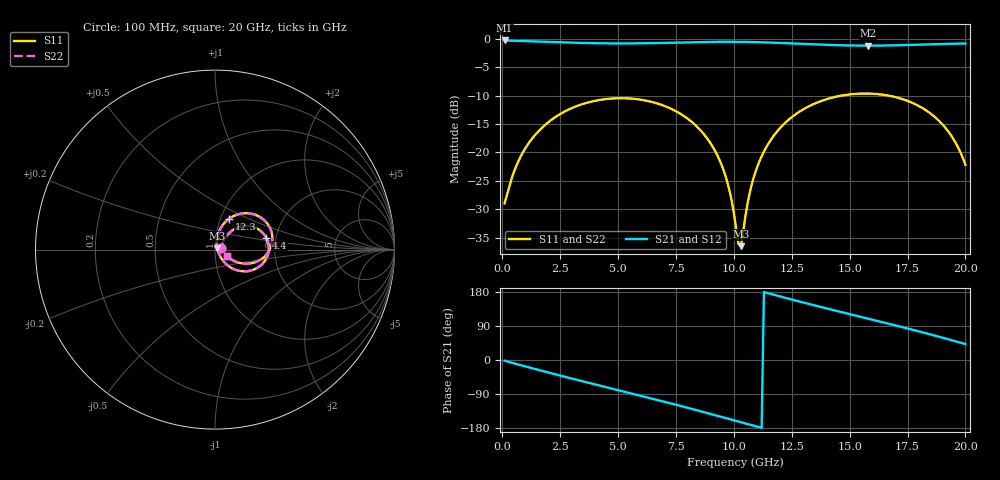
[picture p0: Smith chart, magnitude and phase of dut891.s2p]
! Touchstone file exported from HFSS 2026.1.0
!  File:  C:/ffzhzh/LocalFiles/Ansys_Project_Files/temp_train_TSV_RDL_891_1783275311_38820.aedt
!  Generated:  02:25:25 AM Jul  6, 2026
!  Design:  TSV_RDL
!  Project:  temp_train_TSV_RDL_891_1783275311_38820
! Variables:
!  h_bsmrdl = 4.98um
!  h_ox = 20um
!  h_rdl = 5um
!  h_sub = 64.76um
!  h_tmrdl = 2.12um
!  h_tsv = 64.76um
!  h_via = 3um
!  l_bsmrdl = 282.69um
!  l_sub = 5370.27um
!  l_tmrdl = 992.99um
!  m_sub = 200um
!  pitch = 34.83um
!  r_tsv = 9.71um
!  s_tmrdl = 10um
!  w_bsmrdl = 28.62um
!  w_sub = 500um
!  w_tmrdl = 21.46um
!  x_tsv_center1 = 1003.72um
!  x_tsv_center2 = 1315.03um
!  x_tsv_center3 = 2329.48um
!  x_tsv_center4 = 2640.79um
!  x_tsv_center5 = 3655.24um
!  x_tsv_center6 = 3966.55um
# GHz S MA R 50.000000
! Terminal data exported
! Port[1] = TM_RDL1_1_T1
! Port[2] = TM_RDL5_1_T1
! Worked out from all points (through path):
!   200 points, 100 MHz to 20 GHz, reference 50 ohm
!   highest |S21| = -0.30 dB at 100 MHz (marker M1); lowest = -1.2 dB at 15.8 GHz (marker M2)
!   group delay of S21, straight-line fit = 44 ps
!   lowest |S11| = -36.5 dB at 10.3 GHz (marker M3), VSWR 1.03, Z = 51.4 + j0.688 ohm
!   |S11| at or under -10 dB: start of sweep to 14.65 GHz; 16.68 GHz to end of sweep
!   |S22| runs from -36.6 to -9.6 dB; largest |S21 - S12| = 2.4e-14
!   S11 on the Smith chart (normalised r, x): 100 MHz: 1.07, +0.02; 4.4 GHz: 1.78, +0.25; 12.3 GHz: 1.10, +0.39; 20 GHz: 1.14, -0.09
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0.1  0.03566 18.4  0.9665 -1.8  0.9665 -1.8  0.03566 18.4
! Gamma 0 0 0 0
! Port Impedance 50 0 50 0
0.6  0.07573 47.8  0.958 -10.4  0.958 -10.4  0.07573 47.8
1.3  0.1334 48.8  0.9474 -21.9  0.9474 -21.9  0.1334 48.8
3.5  0.2679 24.8  0.9186 -56.7  0.9186 -56.7  0.2678 24.8
4.4  0.2935 12.8  0.9117 -70.4  0.9117 -70.4  0.2935 12.7
6.8  0.2655 -20.5  0.9182 -107.0  0.9182 -107.0  0.2654 -20.6
8.1  0.1916 -38.9  0.9315 -127.6  0.9315 -127.6  0.1916 -39.0
9.1  0.1111 -51.5  0.9394 -144.0  0.9394 -144.0  0.1111 -51.6
9.7  0.05647 -53.7  0.9411 -154.0  0.9411 -154.0  0.05637 -53.9
10.1  0.02145 -32.5  0.9405 -160.7  0.9405 -160.7  0.02125 -32.9
10.2  0.01569 -9.1  0.9401 -162.4  0.9401 -162.4  0.01544 -9.4
10.3  0.01499 26.5  0.9397 -164.1  0.9397 -164.1  0.01475 26.9
10.6  0.03634 73.4  0.9377 -169.1  0.9377 -169.1  0.03627 73.8
11  0.07372 79.1  0.9339 -175.8  0.9339 -175.8  0.0737 79.3
11.6  0.1293 74.5  0.9259 174.2  0.9259 174.2  0.1293 74.6
12.3  0.1888 65.6  0.914 162.8  0.914 162.8  0.1888 65.6
13.4  0.2642 50.2  0.8941 145.4  0.8941 145.4  0.2642 50.2
15.8  0.3296 16.7  0.8705 109.2  0.8705 109.2  0.3296 16.8
16.7  0.3156 4.4  0.8735 95.6  0.8735 95.6  0.3156 4.4
18.7  0.2036 -22.5  0.8965 64.1  0.8965 64.1  0.2035 -22.5
19.4  0.1394 -29.8  0.9042 52.4  0.9042 52.4  0.1393 -29.7
20  0.078 -29.4  0.9078 42.1  0.9078 42.1  0.07792 -29.3
